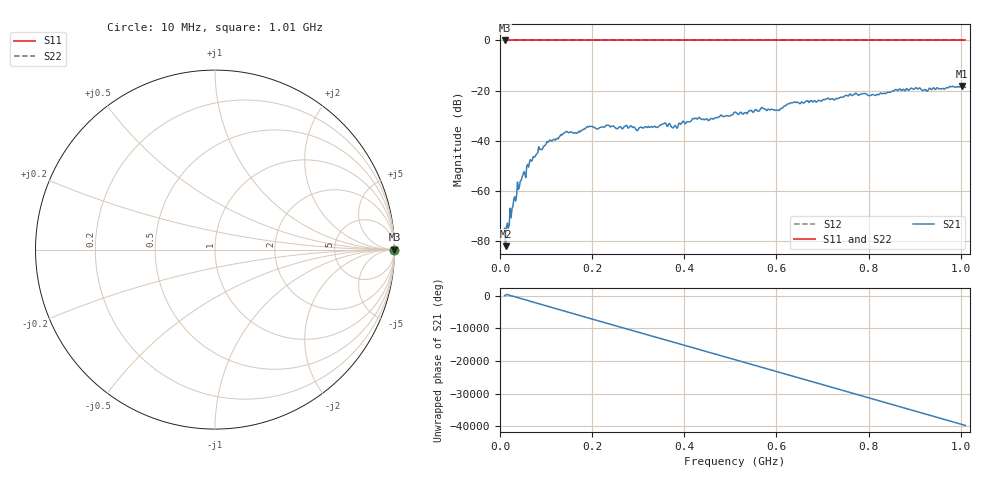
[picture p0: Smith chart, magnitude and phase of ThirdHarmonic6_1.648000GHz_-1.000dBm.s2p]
! 8/16/2025 7:43:46 PM
! C:\ANRITSUVNA\TEMP\TEMP.S2P
! CHANNEL.1
! TR.MEASUREMENT
! RAW.DATA
! RF.CORRECTION.OFF
! AVERAGING.OFF
! IF.BANDWIDTH: 5KHZ
! SWEEPTYPE:  FREQ.SWEEP(Linear)
! Reference Plane Port Info
! PORT:  PORT1  PORT2
! DISTANCE:  0  m  0  m
! TIME:  0  s  0  s
! PHASE.OFFSET:  0  deg.  0  deg.
! LOSS:  0  dB  0  dB
! REF.LOSS:  0  dB  0  dB
! REF.FREQ:  0  Hz  0  Hz
! Power Info
! POWER:  -20  dBm  -20  dBm
! EFF.POWER:  -20  dBm  -20  dBm
! SOURCE.ATTEN:  0  dB  0  dB
! TEST.ATTEN:  0  dB  0  dB
# GHZ S RI R 50.0
! FREQ.GHZ  S11RE  S11IM  S21RE  S21IM  S12RE  S12IM  S22RE  S22IM
!; PortSelection: Port_12
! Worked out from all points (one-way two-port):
!   501 points, 10 MHz to 1.01 GHz, reference 50 ohm
!   highest |S21| = -18.21 dB at 1.002 GHz (marker M1); lowest = -82.1 dB at 12 MHz (marker M2)
!   lowest |S11| = 0.0 dB at 10 MHz (marker M3)
!   |S11| at or under -10 dB: nowhere
!   |S22| runs from 0.0 to 0.0 dB; largest |S21 - S12| = 1.1
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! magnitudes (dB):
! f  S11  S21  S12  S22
! 10 MHz  0.0  -75.0  0.0  0.0
! 12 MHz  0.0  -82.1  0.0  0.0
! 16 MHz  0.0  -72.9  0.0  0.0
! 34 MHz  0.0  -64.2  0.0  0.0
! 48 MHz  0.0  -54.4  0.0  0.0
! 82 MHz  0.0  -44.8  0.0  0.0
! 142 MHz  0.0  -36.7  0.0  0.0
! 178 MHz  0.0  -35.8  0.0  0.0
! 234 MHz  0.0  -33.9  0.0  0.0
! 298 MHz  0.0  -36.0  0.0  0.0
! 344 MHz  0.0  -34.4  0.0  0.0
! 382 MHz  0.0  -34.4  0.0  0.0
! 422 MHz  0.0  -31.3  0.0  0.0
! 454 MHz  0.0  -31.9  0.0  0.0
! 510 MHz  0.0  -28.5  0.0  0.0
! 570 MHz  0.0  -27.0  0.0  0.0
! 602 MHz  0.0  -27.7  0.0  0.0
! 634 MHz  0.0  -24.9  0.0  0.0
! 678 MHz  0.0  -24.5  0.0  0.0
! 844 MHz  0.0  -20.7  0.0  0.0
! 1.002 GHz  0.0  -18.2  0.0  0.0
! 1.01 GHz  0.0  -18.7  0.0  0.0
